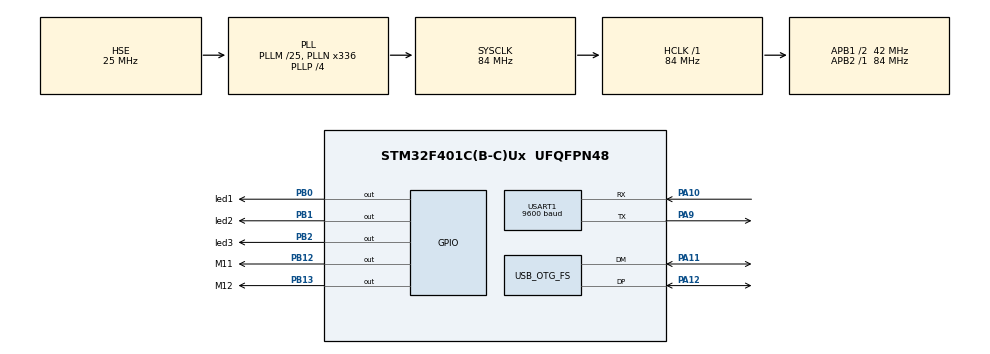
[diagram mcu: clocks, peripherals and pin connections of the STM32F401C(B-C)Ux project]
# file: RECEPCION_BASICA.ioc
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Mcu.Family=STM32F4
Mcu.Name=STM32F401C(B-C)Ux
Mcu.Package=UFQFPN48
NVIC.OTG_FS_IRQn=true\:0\:0\:false\:false\:true\:false\:true\:true
NVIC.PriorityGroup=NVIC_PRIORITYGROUP_4
PA10.Mode=Asynchronous
PA10.Signal=USART1_RX
PA11.Mode=Device_Only
PA11.Signal=USB_OTG_FS_DM
PA12.Mode=Device_Only
PA12.Signal=USB_OTG_FS_DP
PA9.Mode=Asynchronous
PA9.Signal=USART1_TX
PB0.GPIO_Label=led1
PB0.Signal=GPIO_Output
PB1.GPIO_Label=led2
PB1.Signal=GPIO_Output
PB12.GPIO_Label=M11
PB12.Signal=GPIO_Output
PB13.GPIO_Label=M12
PB13.Signal=GPIO_Output
PB2.GPIO_Label=led3
PB2.Signal=GPIO_Output
PH0\ -\ OSC_IN.Mode=HSE-External-Oscillator
PH0\ -\ OSC_IN.Signal=RCC_OSC_IN
PH1\ -\ OSC_OUT.Mode=HSE-External-Oscillator
PH1\ -\ OSC_OUT.Signal=RCC_OSC_OUT
ProjectManager.HeapSize=0x200
ProjectManager.StackSize=0x400
ProjectManager.TargetToolchain=STM32CubeIDE
RCC.48MHZClocksFreq_Value=48000000
RCC.AHBFreq_Value=84000000
RCC.APB1CLKDivider=RCC_HCLK_DIV2
RCC.APB1Freq_Value=42000000
RCC.APB1TimFreq_Value=84000000
RCC.APB2Freq_Value=84000000
RCC.APB2TimFreq_Value=84000000
RCC.CortexFreq_Value=84000000
RCC.HCLKFreq_Value=84000000
RCC.HSE_VALUE=25000000
RCC.HSI_VALUE=16000000
RCC.LSE_VALUE=32768
RCC.PLLM=25
RCC.PLLN=336
RCC.PLLP=RCC_PLLP_DIV4
RCC.PLLQ=7
RCC.SYSCLKFreq_VALUE=84000000
RCC.SYSCLKSource=RCC_SYSCLKSOURCE_PLLCLK
RCC.VCOOutputFreq_Value=336000000
USART1.BaudRate=9600
USART1.VirtualMode=VM_ASYNC
USB_DEVICE.CLASS_NAME_FS=CDC
USB_DEVICE.VirtualMode=Cdc
USB_DEVICE.VirtualModeFS=Cdc_FS
USB_OTG_FS.VirtualMode=Device_Only
VP_USB_DEVICE_VS_USB_DEVICE_CDC_FS.Mode=CDC_FS
board=custom

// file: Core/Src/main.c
/* USER CODE BEGIN Header */
/**
  ******************************************************************************
  * @file           : main.c
  * @brief          : Main program body
  ******************************************************************************
  * @attention
  *
  * Copyright (c) 2023 STMicroelectronics.
  * All rights reserved.
  *
  * This software is licensed under terms that can be found in the LICENSE file
  * in the root directory of this software component.
  * If no LICENSE file comes with this software, it is provided AS-IS.
  *
  ******************************************************************************
  */
/* USER CODE END Header */
#include "main.h"
#include "usb_device.h"

/* USER CODE BEGIN Includes */
#include "uart.h"
#include "usb_cdc.h"
#include "printf_out.h"

#include "stdio.h"
#include "string.h"

/* USER CODE END Includes */

UART_HandleTypeDef huart1;

/* USER CODE BEGIN PV */

uint8_t trama_rx[64];
uint8_t texto[100];
uint8_t captura[30];
uint8_t  valor;

/* USER CODE END PV */

void SystemClock_Config(void);
static void MX_GPIO_Init(void);
static void MX_USART1_UART_Init(void);

/* USER CODE BEGIN 0 */
void m1derecha()
{
HAL_GPIO_WritePin(M11_GPIO_Port, M11_Pin, 0);
HAL_GPIO_WritePin(M12_GPIO_Port, M12_Pin, 1);
usb_uart_write("GIRANDO A LA DERECHA\r\n");

}

void m1izquierda()
{
HAL_GPIO_WritePin(M11_GPIO_Port, M11_Pin, 1);
HAL_GPIO_WritePin(M12_GPIO_Port, M12_Pin, 0);
usb_uart_write("GIRANDO A LA IZQUIERDA\r\n");

}

void m1stop()
{
	HAL_GPIO_WritePin(M11_GPIO_Port, M11_Pin, 0);
	HAL_GPIO_WritePin(M12_GPIO_Port, M12_Pin, 0);
	usb_uart_write("ESTOY QUIERO\r\n");

}
void procesarx()
{
	if (strstr(trama_rx,"M1DER")) m1derecha();
	else if (strstr(trama_rx,"M1IZQ")) m1izquierda();
	else if (strstr(trama_rx,"M1STOP")) m1stop();

	else if (strstr(trama_rx,"LED2="))
	 {
	 if (strstr(trama_rx,"ON"))  led2_GPIO_Port->BSRR=led2_Pin;  //pone un uno
	 else led2_GPIO_Port->BSRR=led2_Pin<<16; //pode un cero
	 }

	else if (strstr(trama_rx,"LED3="))
		 {
		 if (strstr(trama_rx,"ON"))  led3_GPIO_Port->BSRR=led3_Pin;  //pone un uno
		 else  HAL_GPIO_WritePin(led3_GPIO_Port, led3_Pin, 0);		 }

	else if (strstr(trama_rx,"LEDON="))
	{
		  strcpy(texto, strtok(trama_rx, "="));  //inicia captura de tokens
      	strcpy(texto, strtok(0, "/"));  //captura primer dato
         valor=atoi(texto);

         switch  (valor)
         {
         case 2:
        	 HAL_GPIO_WritePin(led2_GPIO_Port, led2_Pin, 1);

        	 break;

         case 3:
        	 HAL_GPIO_WritePin(led3_GPIO_Port, led3_Pin, 1);

        	 break;

         }//switch

	}//else if

	else if (strstr(trama_rx,"LEDOFF="))
		{
			  strcpy(texto, strtok(trama_rx, "="));  //inicia captura de tokens
	      	strcpy(texto, strtok(0, "/"));  //captura primer dato
	         valor=atoi(texto);

	         switch  (valor)
	         {
	         case 2:
	        	 HAL_GPIO_WritePin(led2_GPIO_Port, led2_Pin, 0);

	        	 break;

	         case 3:
	        	 HAL_GPIO_WritePin(led3_GPIO_Port, led3_Pin, 0);

	        	 break;

	         }//switch

		}//else if

    memset(trama_rx,0,64);
}
/* USER CODE END 0 */

int main(void)
{

  /* MCU Configuration--------------------------------------------------------*/

  /* Reset of all peripherals, Initializes the Flash interface and the Systick. */
  HAL_Init();

  /* Configure the system clock */
  SystemClock_Config();

  /* Initialize all configured peripherals */
  MX_GPIO_Init();
  MX_USART1_UART_Init();
  MX_USB_DEVICE_Init();
  /* USER CODE BEGIN 2 */
   uartx_write_text(&huart1, "HOLA\r\n");
  /* USER CODE END 2 */

  /* Infinite loop */
  /* USER CODE BEGIN WHILE */
  while (1)
  {

usb_uart_write("HOLA\r\n");

   //  uartx_read_text(&huart1, trama_rx, '*',50);
   // uartx_write_text(&huart1, trama_rx);

     procesarx();
    // usb_uart_write(trama_rx);

	  HAL_GPIO_TogglePin(led1_GPIO_Port, led1_Pin);
	  HAL_Delay(500);

    /* USER CODE END WHILE */

  }
}

void SystemClock_Config(void)
{
  RCC_OscInitTypeDef RCC_OscInitStruct = {0};
  RCC_ClkInitTypeDef RCC_ClkInitStruct = {0};

  /** Configure the main internal regulator output voltage
  */
  __HAL_RCC_PWR_CLK_ENABLE();
  __HAL_PWR_VOLTAGESCALING_CONFIG(PWR_REGULATOR_VOLTAGE_SCALE2);

  /** Initializes the RCC Oscillators according to the specified parameters
  * in the RCC_OscInitTypeDef structure.
  */
  RCC_OscInitStruct.OscillatorType = RCC_OSCILLATORTYPE_HSE;
  RCC_OscInitStruct.HSEState = RCC_HSE_ON;
  RCC_OscInitStruct.PLL.PLLState = RCC_PLL_ON;
  RCC_OscInitStruct.PLL.PLLSource = RCC_PLLSOURCE_HSE;
  RCC_OscInitStruct.PLL.PLLM = 25;
  RCC_OscInitStruct.PLL.PLLN = 336;
  RCC_OscInitStruct.PLL.PLLP = RCC_PLLP_DIV4;
  RCC_OscInitStruct.PLL.PLLQ = 7;
  if (HAL_RCC_OscConfig(&RCC_OscInitStruct) != HAL_OK)
  {
    Error_Handler();
  }

  /** Initializes the CPU, AHB and APB buses clocks
  */
  RCC_ClkInitStruct.ClockType = RCC_CLOCKTYPE_HCLK|RCC_CLOCKTYPE_SYSCLK
                              |RCC_CLOCKTYPE_PCLK1|RCC_CLOCKTYPE_PCLK2;
  RCC_ClkInitStruct.SYSCLKSource = RCC_SYSCLKSOURCE_PLLCLK;
  RCC_ClkInitStruct.AHBCLKDivider = RCC_SYSCLK_DIV1;
  RCC_ClkInitStruct.APB1CLKDivider = RCC_HCLK_DIV2;
  RCC_ClkInitStruct.APB2CLKDivider = RCC_HCLK_DIV1;

  if (HAL_RCC_ClockConfig(&RCC_ClkInitStruct, FLASH_LATENCY_2) != HAL_OK)
  {
    Error_Handler();
  }
}

static void MX_USART1_UART_Init(void)
{

  huart1.Instance = USART1;
  huart1.Init.BaudRate = 9600;
  huart1.Init.WordLength = UART_WORDLENGTH_8B;
  huart1.Init.StopBits = UART_STOPBITS_1;
  huart1.Init.Parity = UART_PARITY_NONE;
  huart1.Init.Mode = UART_MODE_TX_RX;
  huart1.Init.HwFlowCtl = UART_HWCONTROL_NONE;
  huart1.Init.OverSampling = UART_OVERSAMPLING_16;
  if (HAL_UART_Init(&huart1) != HAL_OK)
  {
    Error_Handler();
  }

}

static void MX_GPIO_Init(void)
{
  GPIO_InitTypeDef GPIO_InitStruct = {0};

  /* GPIO Ports Clock Enable */
  __HAL_RCC_GPIOH_CLK_ENABLE();
  __HAL_RCC_GPIOB_CLK_ENABLE();
  __HAL_RCC_GPIOA_CLK_ENABLE();

  /*Configure GPIO pin Output Level */
  HAL_GPIO_WritePin(GPIOB, led1_Pin|led2_Pin|led3_Pin|M11_Pin
                          |M12_Pin, GPIO_PIN_RESET);

  /*Configure GPIO pins : led1_Pin led2_Pin led3_Pin M11_Pin
                           M12_Pin */
  GPIO_InitStruct.Pin = led1_Pin|led2_Pin|led3_Pin|M11_Pin
                          |M12_Pin;
  GPIO_InitStruct.Mode = GPIO_MODE_OUTPUT_PP;
  GPIO_InitStruct.Pull = GPIO_NOPULL;
  GPIO_InitStruct.Speed = GPIO_SPEED_FREQ_LOW;
  HAL_GPIO_Init(GPIOB, &GPIO_InitStruct);

}

void Error_Handler(void)
{
  __disable_irq();
  while (1)
  {
  }
}
